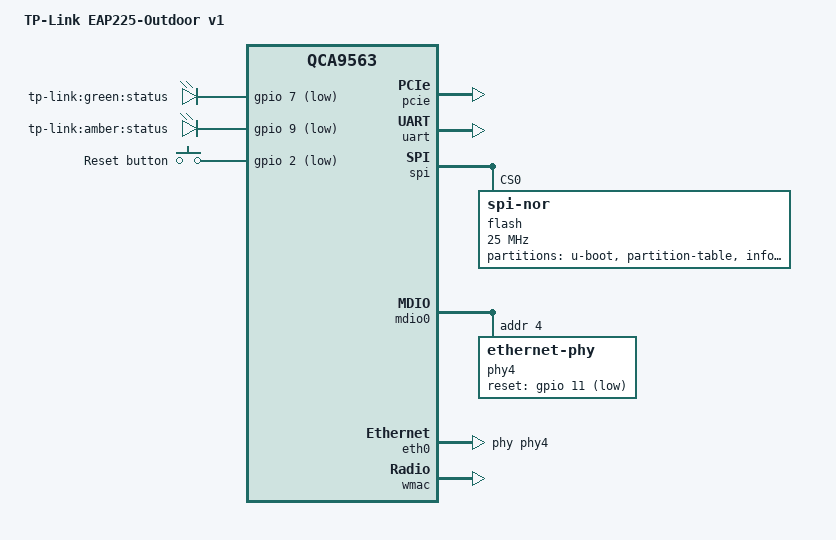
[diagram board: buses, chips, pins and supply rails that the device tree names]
// SPDX-License-Identifier: GPL-2.0-or-later OR MIT
/dts-v1/;

#include <dt-bindings/gpio/gpio.h>
#include <dt-bindings/input/input.h>

#include "qca956x.dtsi"

/ {
	compatible = "tplink,eap225od-v1", "qca,qca9563";
	model = "TP-Link EAP225-Outdoor v1";

	aliases {
		label-device-mac = &eth0;
		led-boot = &led_status_green;
		led-failsafe = &led_status_amber;
		led-running = &led_status_green;
		led-upgrade = &led_status_amber;
	};

	leds {
		compatible = "gpio-leds";

		led_status_green: status_green {
			label = "tp-link:green:status";
			gpios = <&gpio 7 GPIO_ACTIVE_LOW>;
			default-state = "on";
		};

		led_status_amber: status_amber {
			label = "tp-link:amber:status";
			gpios = <&gpio 9 GPIO_ACTIVE_LOW>;
		};
	};

	keys {
		compatible = "gpio-keys";

		reset {
			label = "Reset button";
			linux,code = <KEY_RESTART>;
			gpios = <&gpio 2 GPIO_ACTIVE_LOW>;
			debounce-interval = <60>;
		};
	};
};

&pcie {
	status = "okay";
};

&uart {
	status = "okay";
};

&gpio {
	status = "okay";
};

&spi {
	status = "okay";
	num-cs = <1>;

	flash@0 {
		compatible = "jedec,spi-nor";
		reg = <0>;
		spi-max-frequency = <25000000>;

		partitions {
			compatible = "fixed-partitions";
			#address-cells = <1>;
			#size-cells = <1>;

			partition@0 {
				label = "u-boot";
				reg = <0x000000 0x020000>;
				read-only;
			};

			partition@20000 {
				label = "partition-table";
				reg = <0x020000 0x010000>;
				read-only;
			};

			info: partition@30000 {
				label = "info";
				reg = <0x030000 0x010000>;
				read-only;
			};

			partition@40000 {
				compatible = "openwrt,elf";
				label = "firmware";
				reg = <0x040000 0xec0000>;
			};

			partition@f00000 {
				label = "config";
				reg = <0xf00000 0x030000>;
				read-only;
			};

			partition@f30000 {
				label = "mutil-log";
				reg = <0xf30000 0x080000>;
				read-only;
			};

			partition@fb0000 {
				label = "oops";
				reg = <0xfb0000 0x040000>;
				read-only;
			};

			art: partition@ff0000 {
				label = "art";
				reg = <0xff0000 0x010000>;
				read-only;
			};
		};
	};
};

&pinmux {
	mdio_pins: pinux_mdio_pins {
		/* GPIO 8 as MDC(0x21), GPIO 10 as MDIO(0x20) */
		pinctrl-single,bits = <0x8 0x00000021 0x000000ff>,
				<0x8 0x00200000 0x00ff0000>;
	};
};

&mdio0 {
	status = "okay";

	pinctrl-names = "default";
	pinctrl-0 = <&mdio_pins>;

	phy-mask = <0x10>;

	phy4: ethernet-phy@4 {
		reg = <4>;
		phy-mode = "sgmii";
		reset-gpios = <&gpio 11 GPIO_ACTIVE_LOW>;
	};
};

&eth0 {
	status = "okay";

	phy-handle = <&phy4>;

	mtd-mac-address = <&info 0x8>;

	qca956x-serdes-fixup;

	gmac-config {
		device = <&gmac>;

		rgmii-ge0 = <1>;
		ge0-sgmii = <1>;
		rxdv-delay = <3>;
		rxd-delay = <3>;
	};
};

&wmac {
	status = "okay";

	mtd-cal-data = <&art 0x1000>;
	mtd-mac-address = <&info 0x8>;
	mtd-mac-address-increment = <2>;
};
